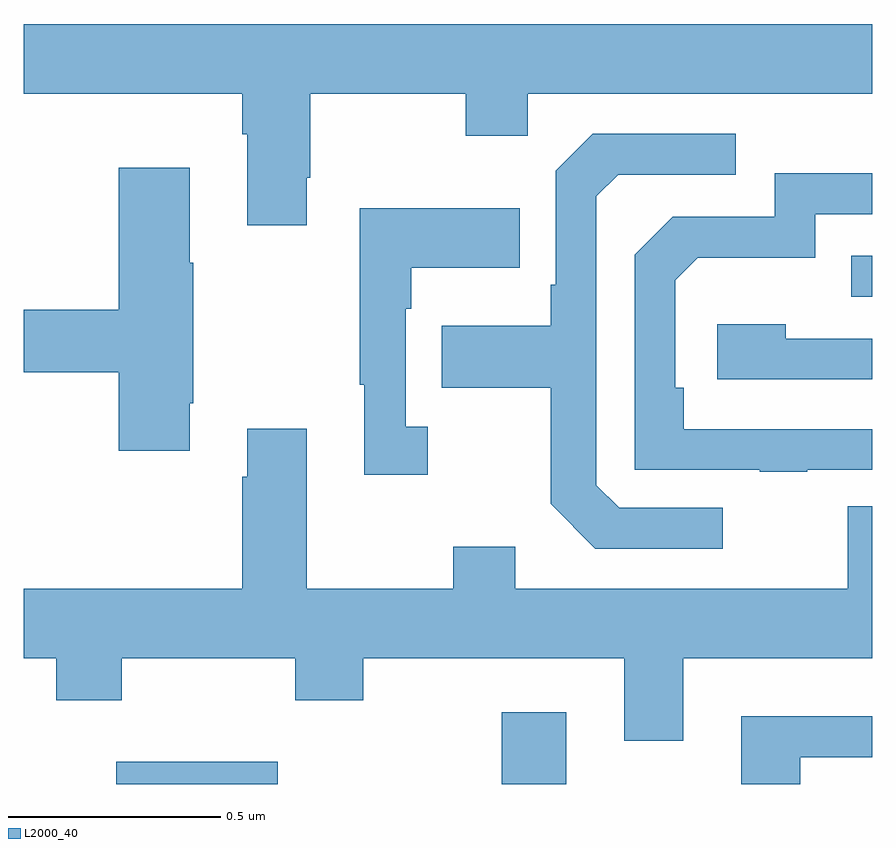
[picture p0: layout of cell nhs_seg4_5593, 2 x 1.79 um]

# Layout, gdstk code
import gdstk
lib = gdstk.Library(unit=1e-6, precision=1e-09)
def R(c, l, rs):  # rectangles x0, y0, x1, y1
    for r in rs: c.add(gdstk.rectangle(r[:2], r[2:], *l))
def P(c, l, *ps):  # polygons
    for p in ps: c.add(gdstk.Polygon(p, *l))
L2000_40 = (2000, 40)

nhs_seg4_5593 = lib.new_cell('nhs_seg4_5593')
R(nhs_seg4_5593, L2000_40, [(180.218,753.9,180.598,753.952), (181.127,753.9,181.279,754.069), (181.951,755.049,182,755.145)])
P(nhs_seg4_5593, L2000_40, [(180.667,755.329),(180.675,755.329),(180.675,755.528),(181.042,755.528),(181.042,755.429),(181.188,755.429),(181.188,755.528),(182,755.528),(182,755.692),(180,755.692),(180,755.528),(180.515,755.528),(180.515,755.432),(180.527,755.432),(180.527,755.217),(180.667,755.217)],
  [(181.648,754.551),(181.404,754.551),(181.35,754.605),(181.35,755.286),(181.401,755.337),(181.678,755.337),(181.678,755.433),(181.341,755.433),(181.254,755.346),(181.254,755.077),(181.242,755.077),(181.242,754.981),(180.985,754.981),(180.985,754.834),(181.242,754.834),(181.242,754.561),(181.347,754.455),(181.648,754.455)],
  [(180.391,754.798),(180.399,754.798),(180.399,755.129),(180.391,755.129),(180.391,755.353),(180.224,755.353),(180.224,755.018),(180,755.018),(180,754.871),(180.224,754.871),(180.224,754.686),(180.391,754.686)],
  [(181.847,754.641),(182,754.641),(182,754.737),(181.556,754.737),(181.556,754.834),(181.536,754.834),(181.536,755.088),(181.589,755.141),(181.866,755.141),(181.866,755.244),(182,755.244),(182,755.34),(181.77,755.34),(181.77,755.238),(181.53,755.238),(181.44,755.148),(181.44,754.641),(181.735,754.641),(181.735,754.636),(181.847,754.636)],
  [(180.952,754.742),(180.9,754.742),(180.9,755.021),(180.913,755.021),(180.913,755.117),(181.169,755.117),(181.169,755.257),(180.792,755.257),(180.792,754.841),(180.803,754.841),(180.803,754.629),(180.952,754.629)],
  [(182,754.95),(181.796,754.95),(181.796,754.984),(181.635,754.984),(181.635,754.854),(182,754.854)],
  [(181.415,754.002),(181.555,754.002),(181.555,754.196),(182,754.196),(182,754.555),(181.943,754.555),(181.943,754.36),(181.159,754.36),(181.159,754.459),(181.012,754.459),(181.012,754.36),(180.667,754.36),(180.667,754.738),(180.527,754.738),(180.527,754.625),(180.515,754.625),(180.515,754.36),(180,754.36),(180,754.196),(180.076,754.196),(180.076,754.097),(180.231,754.097),(180.231,754.196),(180.64,754.196),(180.64,754.097),(180.8,754.097),(180.8,754.196),(181.415,754.196)],
  [(181.831,753.963),(182,753.963),(182,754.06),(181.691,754.06),(181.691,753.9),(181.831,753.9)])

lib.write_gds('nhs_seg4_5593.gds')
